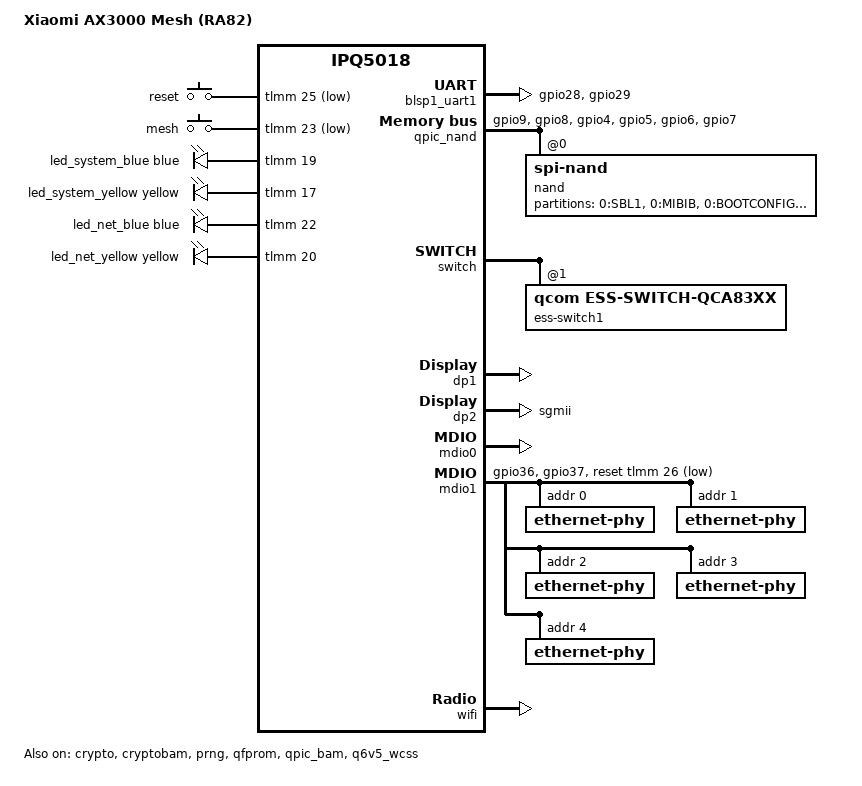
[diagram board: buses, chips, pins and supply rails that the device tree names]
// SPDX-License-Identifier: (GPL-2.0+)

/dts-v1/;

#include "ipq5018.dtsi"
#include "ipq5018-ess.dtsi"

#include <dt-bindings/gpio/gpio.h>
#include <dt-bindings/input/input.h>
#include <dt-bindings/leds/common.h>

/ {
	model = "Xiaomi AX3000 Mesh (RA82)";
	compatible = "xiaomi,ra82", "qcom,ipq5018";

	aliases {
		label-mac-device = &dp1;
		led-boot = &led_system_blue;
		led-failsafe = &led_system_yellow;
		led-running = &led_system_blue;
		led-upgrade = &led_system_yellow;
		serial0 = &blsp1_uart1;
	};

	chosen {
		bootargs-append = " ubi.mtd=rootfs root=/dev/ubiblock0_0 coherent_pool=2M";
		stdout-path = "serial0:115200n8";
	};

	keys {
		compatible = "gpio-keys";

		pinctrl-0 = <&button_pins>;
		pinctrl-names = "default";

		reset-button {
			label = "reset";
			gpios = <&tlmm 25 GPIO_ACTIVE_LOW>;
			linux,code = <KEY_RESTART>;
		};

		mesh-button {
			label = "mesh";
			gpios = <&tlmm 23 GPIO_ACTIVE_LOW>;
			linux,code = <KEY_WPS_BUTTON>;
		};
	};

	leds {
		compatible = "gpio-leds";

		pinctrl-0 = <&leds_pins>;
		pinctrl-names = "default";

		led_system_blue: system-blue {
			color = <LED_COLOR_ID_BLUE>;
			function = LED_FUNCTION_POWER;
			gpios = <&tlmm 19 GPIO_ACTIVE_HIGH>;
			default-state = "on";
		};

		led_system_yellow: system-yellow {
			color = <LED_COLOR_ID_YELLOW>;
			function = LED_FUNCTION_POWER;
			gpios = <&tlmm 17 GPIO_ACTIVE_HIGH>;
		};

		led_net_blue: net-blue {
			color = <LED_COLOR_ID_BLUE>;
			function = LED_FUNCTION_WAN_ONLINE;
			gpios = <&tlmm 22 GPIO_ACTIVE_HIGH>;
		};

		led_net_yellow: net-yellow {
			color = <LED_COLOR_ID_YELLOW>;
			function = LED_FUNCTION_WAN;
			gpios = <&tlmm 20 GPIO_ACTIVE_HIGH>;
		};
	};
};

&sleep_clk {
	clock-frequency = <32000>;
};

&xo_board_clk {
	clock-div = <4>;
	clock-mult = <1>;
};

&blsp1_uart1 {
	status = "okay";

	pinctrl-0 = <&serial_0_pins>;
	pinctrl-names = "default";
};

&crypto { status = "okay"; };
&cryptobam { status = "okay"; };
&prng { status = "okay"; };
&qfprom { status = "okay"; };
&qpic_bam { status = "okay"; };

&qpic_nand {
	pinctrl-0 = <&qpic_pins>;
	pinctrl-names = "default";
	status = "okay";

	nand@0 {
		compatible = "spi-nand";
		reg = <0>;
		nand-ecc-engine = <&qpic_nand>;
		nand-bus-width = <8>;

		partitions {
			compatible = "fixed-partitions";
			#address-cells = <1>;
			#size-cells = <1>;

			partition@0       { label = "0:SBL1";        reg = <0x00000000 0x80000>; read-only; };
			partition@80000   { label = "0:MIBIB";       reg = <0x00080000 0x80000>; read-only; };
			partition@100000  { label = "0:BOOTCONFIG";  reg = <0x00100000 0x40000>; read-only; };
			partition@140000  { label = "0:BOOTCONFIG1"; reg = <0x00140000 0x40000>; read-only; };
			partition@180000  { label = "0:QSEE";        reg = <0x00180000 0x100000>; read-only; };
			partition@280000  { label = "0:QSEE_1";      reg = <0x00280000 0x100000>; read-only; };
			partition@380000  { label = "0:DEVCFG";      reg = <0x00380000 0x40000>; read-only; };
			partition@3c0000  { label = "0:DEVCFG_1";    reg = <0x003c0000 0x40000>; read-only; };
			partition@400000  { label = "0:CDT";         reg = <0x00400000 0x40000>; read-only; };
			partition@440000  { label = "0:CDT_1";       reg = <0x00440000 0x40000>; read-only; };
			partition@480000  { label = "0:APPSBLENV";   reg = <0x00480000 0x80000>; };
			partition@500000  { label = "0:APPSBL_1";    reg = <0x00500000 0x140000>; read-only; };
			partition@640000  { label = "0:APPSBL";      reg = <0x00640000 0x140000>; read-only; };
			partition@780000  { label = "0:ART";         reg = <0x00780000 0x100000>; read-only; };
			partition@880000  { label = "0:TRAINING";    reg = <0x00880000 0x80000>; read-only; };
			partition@900000  { label = "bdata";         reg = <0x00900000 0x80000>; };
			partition@980000  { label = "crash";         reg = <0x00980000 0x80000>; };
			partition@a00000  { label = "crash_syslog";  reg = <0x00a00000 0x80000>; };
			partition@a80000  { label = "rootfs";        reg = <0x00a80000 0x2400000>; };
			partition@2e80000 { label = "rootfs_1";      reg = <0x02e80000 0x2400000>; };
			partition@5280000 { label = "overlay";       reg = <0x05280000 0x1f00000>; };
		};
	};
};

&switch {
	status = "okay";
	switch_mac_mode = <MAC_MODE_SGMII_CHANNEL0>;

	qcom,port_phyinfo {
		port@0 { port_id = <1>; mdiobus = <&mdio0>; phy_address = <7>; phy_dac = <0x10 0x10>; };
		port@1 { port_id = <2>; forced-speed = <1000>; forced-duplex = <1>; };
	};

	ess-switch1@1 {
		compatible = "qcom,ess-switch-qca83xx";
		device_id = <1>;
		reset_gpio = <26>;
		switch_access_mode = "mdio";
		mdio-bus = <&mdio1>;

		qca,ar8327-initvals = <
			0x000c 0x00000080
			0x0010 0x002613a0
			0x0094 0x000010ce
			0x00e0 0xc74164de
		>;

		switch_cpu_bmp = <0x60>;
		switch_lan_bmp = <0x0e>;
		switch_wan_bmp = <0x10>;

		qcom,port_phyinfo {
			port@1 { port_id = <1>; phy_address = <0>; };
			port@2 { port_id = <2>; phy_address = <1>; };
			port@3 { port_id = <3>; phy_address = <2>; };
			port@4 { port_id = <4>; phy_address = <3>; };
			port@5 { port_id = <5>; phy_address = <4>; };
			port@6 { port_id = <6>; forced-speed = <1000>; forced-duplex = <1>; };
		};
	};
};

&dp1 { status = "okay"; };
&dp2 { status = "okay"; phy-mode = "sgmii"; };
&mdio0 { status = "okay"; };
&ge_phy { qcom,dac-preset-short-cable; };

&mdio1 {
	status = "okay";
	pinctrl-0 = <&mdio1_pins>;
	pinctrl-names = "default";
	reset-gpios = <&tlmm 26 GPIO_ACTIVE_LOW>;

	ethernet-phy@0 { reg = <0>; };
	ethernet-phy@1 { reg = <1>; };
	ethernet-phy@2 { reg = <2>; };
	ethernet-phy@3 { reg = <3>; };
	ethernet-phy@4 { reg = <4>; };
};

&tlmm {
	button_pins: button-state {
		pins = "gpio23", "gpio25";
		function = "gpio";
		drive-strength = <8>;
		bias-pull-up;
	};

	leds_pins: leds-state {
		pins = "gpio17", "gpio19", "gpio20", "gpio22";
		function = "gpio";
		drive-strength = <8>;
		bias-pull-down;
	};

	mdio1_pins: mdio-state {
		mdc-pins { pins = "gpio36"; function = "mdc"; drive-strength = <8>; bias-pull-up; };
		mdio-pins { pins = "gpio37"; function = "mdio"; drive-strength = <8>; bias-pull-up; };
	};

	qpic_pins: qpic-state {
		clock-pins { pins = "gpio9"; function = "qspi_clk"; drive-strength = <8>; bias-disable; };
		cs-pins    { pins = "gpio8"; function = "qspi_cs"; drive-strength = <8>; bias-disable; };
		data-pins  { pins = "gpio4", "gpio5", "gpio6", "gpio7"; function = "qspi_data"; drive-strength = <8>; bias-disable; };
	};

	serial_0_pins: uart0-state {
		pins = "gpio28", "gpio29";
		function = "blsp0_uart1";
		bias-disable;
	};
};

&q6v5_wcss {
	status = "okay";
	firmware-name = "ath11k/IPQ5018/hw1.0/q6_fw.mdt",
			"ath11k/IPQ5018/hw1.0/m3_fw.mdt";
};

&wifi {
	status = "okay";
	qcom,rproc = <&q6v5_wcss>;
};
